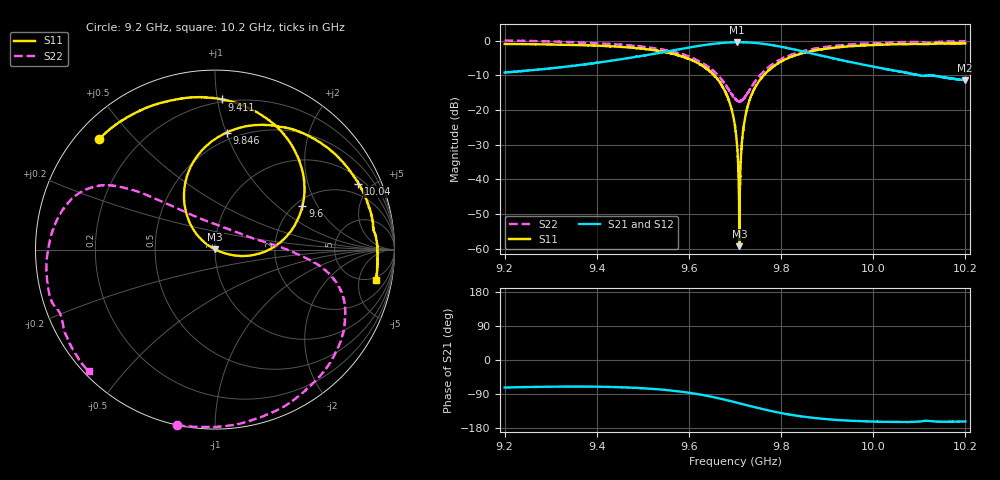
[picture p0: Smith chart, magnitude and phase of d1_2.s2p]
!Agilent Technologies,N5242A,MY51221714,A.09.90.19
!Agilent N5242A: A.09.90.19
!Date: Tuesday, March 26, 2024 16:08:38
!Correction: S11(Full 2 Port(1,2))
!S21(Full 2 Port(1,2))
!S12(Full 2 Port(1,2))
!S22(Full 2 Port(1,2))
!S2P File: Measurements: S11, S21, S12, S22:
# Hz S  dB  R 50
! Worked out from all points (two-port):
!   16001 points, 9.2 GHz to 10.2 GHz, reference 50 ohm
!   highest |S21| = -0.47 dB at 9.705 GHz (marker M1); lowest = -11.5 dB at 10.2 GHz (marker M2)
!   |S21| within 3 dB of the highest: 9.539207 GHz to 9.539616 GHz (408.9 kHz wide, 0.00429 % of centre); 9.54 GHz to 9.858 GHz (318.9 MHz wide, 3.29 % of centre)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
!   lowest |S11| = -59.2 dB at 9.71 GHz (marker M3), VSWR 1.00, Z = 50 + j0.1 ohm
!   |S11| at or under -10 dB: 9.655 GHz to 9.762 GHz (107.9 MHz wide, 1.11 % of centre)
!   |S22| runs from -17.6 to 0.0 dB; largest |S21 - S12| = 0.012
!   S11 on the Smith chart (normalised r, x): 9.2 GHz: 0.07, +0.40; 9.411 GHz: 0.18, +1.03; 9.6 GHz: 2.18, +1.51; 9.846 GHz: 0.44, +1.00; 10.04 GHz: 1.30, +4.20; 10.2 GHz: 4.26, -8.67
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9.2e9  -0.99 136.2  -9.20 -72.6  -9.19 -73.3  0.00 -102.2
9.366688e9  -1.33 98.8  -7.01 -70.2  -6.98 -70.8  -0.61 -57.7
9.411188e9  -1.54 87.5  -6.21 -70.7  -6.19 -71.4  -0.86 -46.5
9.533375e9  -2.99 51.5  -3.61 -77.2  -3.60 -77.9  -2.40 -19.9
9.599562e9  -5.28 26.6  -2.04 -86.3  -2.03 -87.0  -4.60 -8.7
9.668062e9  -12.21 -5.4  -0.75 -102.0  -0.74 -102.5  -10.79 7.7
9.688e9  -17.68 -15.3  -0.55 -107.8  -0.53 -108.3  -14.53 24.4
9.7e9  -24.64 -20.8  -0.49 -111.3  -0.48 -111.9  -16.68 45.6
9.705e9  -30.98 -21.7  -0.47 -112.9  -0.47 -113.4  -17.29 58.0
9.7095e9  -59.19 65.9  -0.48 -114.3  -0.47 -114.9  -17.48 69.3
9.712688e9  -34.09 149.3  -0.48 -115.3  -0.47 -115.9  -17.39 78.2
9.716688e9  -27.13 148.2  -0.49 -116.5  -0.47 -117.1  -17.07 88.6
9.722e9  -22.11 144.7  -0.52 -118.2  -0.50 -118.8  -16.22 100.4
9.742188e9  -13.86 133.7  -0.69 -124.3  -0.67 -124.9  -12.06 126.1
9.7835e9  -7.45 112.3  -1.39 -135.9  -1.39 -136.5  -6.64 140.6
9.845875e9  -3.67 84.3  -3.07 -149.1  -3.08 -149.6  -3.10 149.1
9.866688e9  -3.03 76.3  -3.71 -152.3  -3.72 -152.8  -2.49 152.0
9.934938e9  -1.81 53.2  -5.76 -159.2  -5.76 -159.8  -1.27 163.2
1.003338e10  -1.15 26.3  -8.36 -163.2  -8.34 -163.8  -0.55 -176.7
1.004019e10  -1.12 24.6  -8.52 -163.3  -8.51 -163.9  -0.52 -175.2
1.019981e10  -0.79 -10.5  -11.48 -162.2  -11.45 -162.9  -0.19 -136.1
1.02e10  -0.79 -10.6  -11.47 -162.3  -11.47 -162.9  -0.19 -136.0
